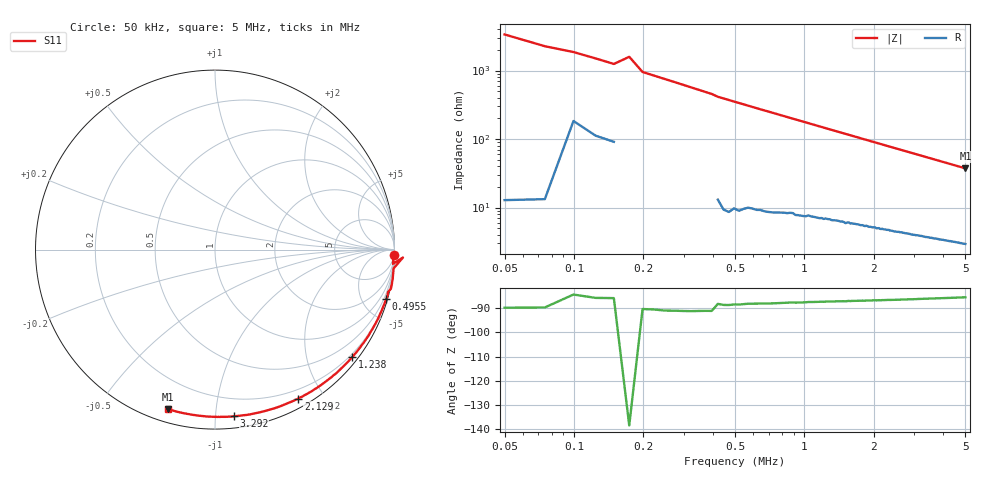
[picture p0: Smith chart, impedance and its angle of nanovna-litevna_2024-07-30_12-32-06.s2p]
! NanoVNA-App by OneOfEleven et al v1.1.209 (+OD15)
! Date: 2024-07-30 12:32:09
! Start: 50kHz Stop: 5MHz Points: 201
! S-Parameter data: F S11 S21 S12 S22
# Hz S RI R 50
!  Frequency  S11_Real  S11_Imag  S21_Real  S21_Imag  S12_Real  S12_Imag  S22_Real  S22_Imag
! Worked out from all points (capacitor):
!   201 points, 50 kHz to 5 MHz, reference 50 ohm
!   read as one part to ground: C = 864 pF near 74.75 kHz
!   lowest |Z| = 37.3 ohm at 5 MHz (marker M1)
!   S11 on the Smith chart (normalised r, x): 50 kHz: 0, -67; 495.5 kHz: 0.20, -7.05; 1.238 MHz: 0.14, -2.88; 2.129 MHz: 0.10, -1.70; 3.292 MHz: 0.08, -1.12; 5 MHz: 0.06, -0.74
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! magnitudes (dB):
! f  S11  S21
! 50 kHz  0.0  -110.3
! 74.75 kHz  0.0  -87.4
! 99.5 kHz  0.0  -93.2
! 149 kHz  -0.1  -93.1
! 173.8 kHz  0.4  -99.5
! 198.5 kHz  0.0  -94.8
! 396.5 kHz  0.0  -100.0
! 421.2 kHz  -0.1  -87.4
! 446 kHz  -0.1  -92.9
! 495.5 kHz  -0.1  -85.7
! 891.5 kHz  -0.2  -91.4
! 1.238 MHz  -0.3  -87.2
! 1.51 MHz  -0.3  -98.1
! 1.56 MHz  -0.3  -87.6
! 1.708 MHz  -0.4  -93.2
! 2.129 MHz  -0.4  -87.9
! 2.525 MHz  -0.5  -95.5
! 3.292 MHz  -0.6  -98.6
! 3.366 MHz  -0.6  -85.0
! 3.564 MHz  -0.6  -88.1
! 4.183 MHz  -0.6  -91.5
! 5 MHz  -0.7  -88.6
